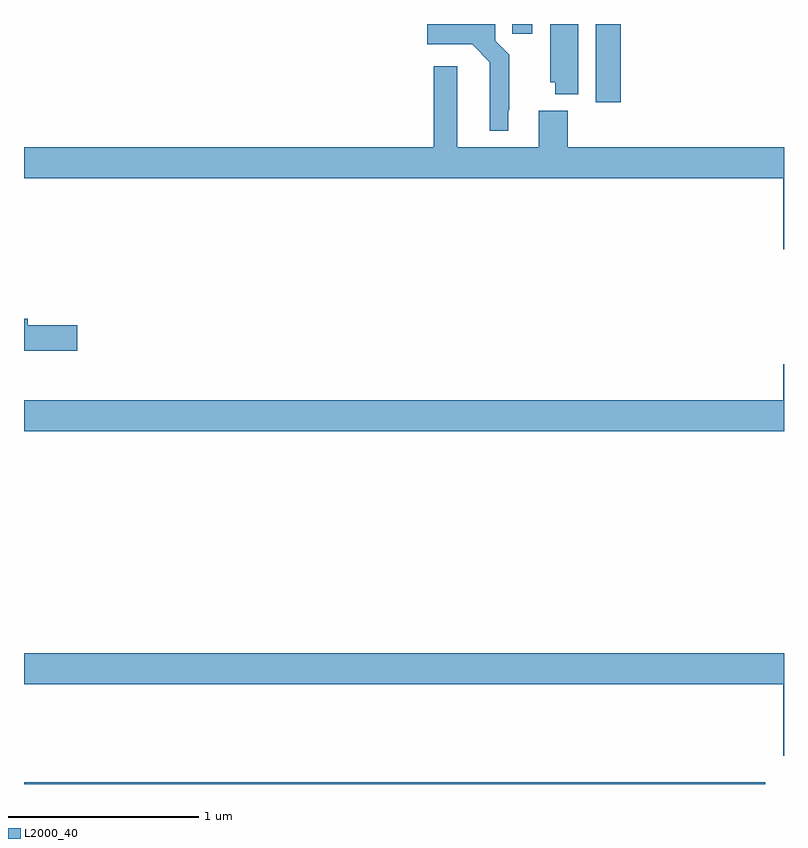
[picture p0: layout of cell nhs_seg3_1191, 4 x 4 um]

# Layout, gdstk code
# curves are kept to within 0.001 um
import gdstk
lib = gdstk.Library(unit=1e-6, precision=1e-09)
def R(c, l, rs):  # rectangles x0, y0, x1, y1
    for r in rs: c.add(gdstk.rectangle(r[:2], r[2:], *l))
def P(c, l, *ps):  # polygons
    for p in ps: c.add(gdstk.Polygon(p, *l))
L2000_40 = (2000, 40)

nhs_seg3_1191 = lib.new_cell('nhs_seg3_1191')
R(nhs_seg3_1191, L2000_40, [(173,692.4,176.9,692.408), (176.009,695.988,176.141,696.4), (175.571,696.348,175.675,696.4)])
P(nhs_seg3_1191, L2000_40, [(175.918,696.4),(175.769,696.4),(175.769,696.093),(175.796,696.093),(175.796,696.029),(175.918,696.029)],
  [(175.549,695.947),(175.553,695.947),(175.553,696.238),(175.479,696.312),(175.479,696.4),(175.122,696.4),(175.122,696.293),(175.359,696.293),(175.452,696.2),(175.451,695.837),(175.549,695.837)],
  [(177,695.752),(175.862,695.752),(175.862,695.944),(175.709,695.944),(175.709,695.752),(175.279,695.752),(175.279,696.178),(175.157,696.178),(175.157,695.752),(173,695.752),(173,695.588),(176.996,695.588),(176.996,695.214),(177,695.214)],
  [(173.281,694.814),(173.02,694.814),(173.02,694.85),(173,694.85),(173,694.679),(173.281,694.679)],
  [(177,694.609),(176.996,694.609),(176.996,694.42),(173,694.42),(173,694.256),(177,694.256)],
  [(177,693.088),(173,693.088),(173,692.924),(176.996,692.924),(176.996,692.55),(177,692.55)])

lib.write_gds('nhs_seg3_1191.gds')
